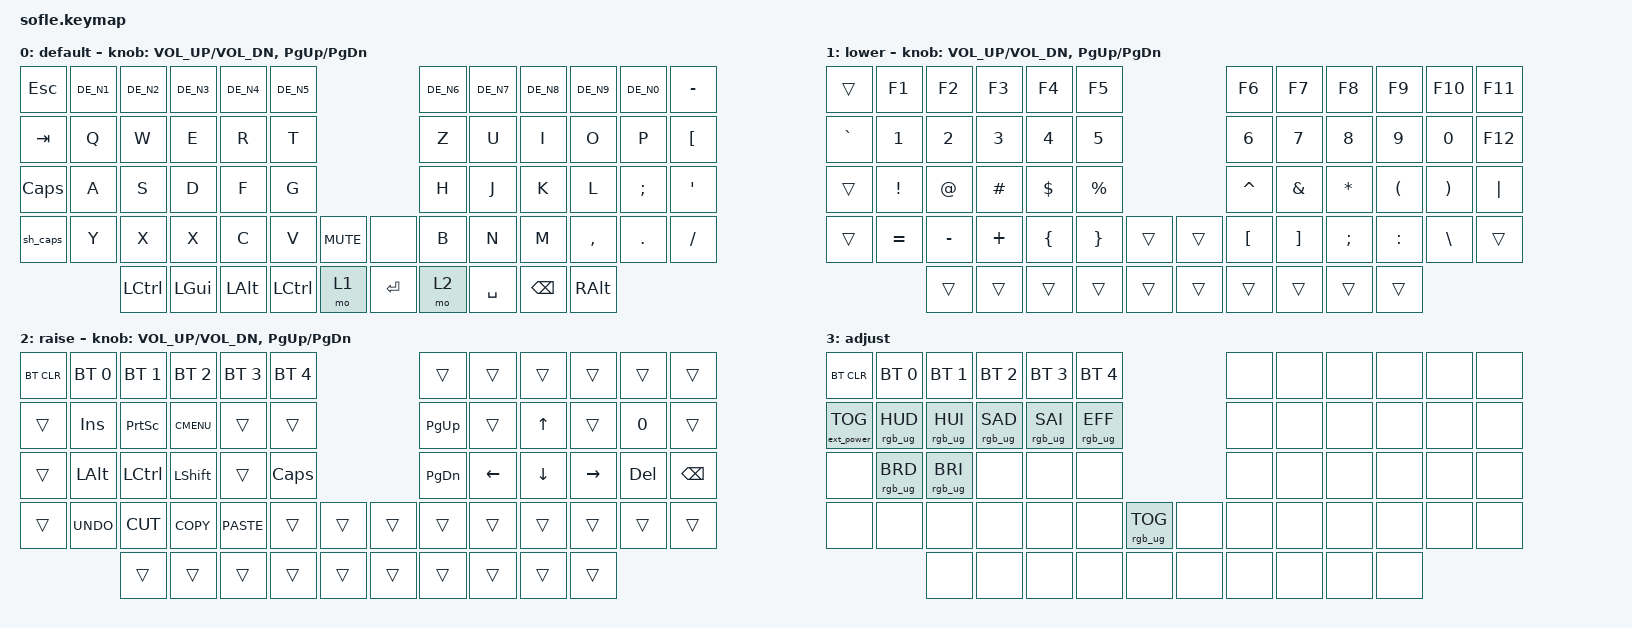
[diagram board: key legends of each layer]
/*
 * Copyright (c) 2020 The ZMK Contributors
 *
 * SPDX-License-Identifier: MIT
 */

#include <behaviors.dtsi>
#include <dt-bindings/zmk/bt.h>
#include <dt-bindings/zmk/ext_power.h>
#include <dt-bindings/zmk/keys.h>
#include <dt-bindings/zmk/rgb.h>
#include "keys_de.h"

#define BASE 0
#define LOWER 1
#define RAISE 2
#define ADJUST 3

/ {
    // Activate ADJUST layer by pressing raise and lower

    conditional_layers {
        compatible = "zmk,conditional-layers";

        adjust_layer {
            if-layers = <LOWER RAISE>;
            then-layer = <ADJUST>;
        };
    };

    behaviors {
        sh_tap_or_hold: shift_tap_or_hold {
            compatible = "zmk,behavior-hold-tap";
            #binding-cells = <2>;
            flavor = "balanced";
            tapping-term-ms = <200>;
            bindings = <&kp>, <&sk>;
        };

        sh_caps: shift_caps_dance {
            compatible = "zmk,behavior-tap-dance";
            #binding-cells = <0>;
            tapping-term-ms = <200>;
            bindings = <&sh_tap_or_hold LSHIFT LSHIFT>, <&kp CAPSLOCK>;
        };
    };

    keymap {
        compatible = "zmk,keymap";

        default_layer {
            display-name = "default";

            // ------------------------------------------------------------------------------------------------------------
            // |   `   |  1  |  2  |  3   |  4   |  5   |                   |  6   |  7    |  8    |  9   |   0   |       |
            // |  ESC  |  Q  |  W  |  E   |  R   |  T   |                   |  Y   |  U    |  I    |  O   |   P   | BKSPC |
            // |  TAB  |  A  |  S  |  D   |  F   |  G   |                   |  H   |  J    |  K    |  L   |   ;   |   '   |
            // | SHIFT |  Z  |  X  |  C   |  V   |  B   |  MUTE  |  |       |  N   |  M    |  ,    |  .   |   /   | SHIFT |
            //               | GUI | ALT  | CTRL | LOWER|  ENTER |  | SPACE | RAISE| CTRL  | ALT   | GUI  |

            bindings = <
&kp ESCAPE    &kp DE_N1  &kp DE_N2         &kp DE_N3  &kp DE_N4  &kp DE_N5                       &kp DE_N6  &kp DE_N7  &kp DE_N8  &kp DE_N9  &kp DE_N0  &kp MINUS
&kp TAB       &kp Q      &kp W             &kp E      &kp R      &kp T                           &kp Z      &kp U      &kp I      &kp O      &kp P      &kp LBKT
&kp CAPSLOCK  &kp A      &kp S             &kp D      &kp F      &kp G                           &kp H      &kp J      &kp K      &kp L      &kp SEMI   &kp SQT
&sh_caps    &kp Y      &kp X             &kp X      &kp C      &kp V      &kp C_MUTE  &none    &kp B      &kp N      &kp M      &kp COMMA  &kp DOT    &kp FSLH
                         &kp LEFT_CONTROL  &kp LGUI   &kp LALT   &kp LCTRL  &mo 1       &kp RET  &mo 2      &kp SPACE  &kp BSPC   &kp RALT
            >;

            sensor-bindings = <&inc_dec_kp C_VOL_UP C_VOL_DN &inc_dec_kp PG_UP PG_DN>;
        };

        lower_layer {
            display-name = "lower";

            // TODO: Some binds are waiting for shifted keycode support.
            // ------------------------------------------------------------------------------------------------------------
            // |       |  F1 |  F2 |  F3  |  F4  |  F5  |                   |  F6  |  F7   |  F8   |  F9  |  F10  |  F11  |
            // |   `   |  1  |  2  |  3   |  4   |  5   |                   |  6   |  7    |  8    |  9   |   0   |  F12  |
            // |       |  !  |  @  |  #   |  $   |  %   |                   |  ^   |  &    |  *    |  (   |   )   |   |   |
            // |       |  =  |  -  |  +   |  {   |  }   |        |  |       |  [   |  ]    |  ;    |  :   |   \   |       |
            //               |     |      |      |      |        |  |       |      |       |       |      |

            bindings = <
&trans     &kp F1     &kp F2     &kp F3    &kp F4    &kp F5                       &kp F6     &kp F7    &kp F8     &kp F9     &kp F10   &kp F11
&kp GRAVE  &kp N1     &kp N2     &kp N3    &kp N4    &kp N5                       &kp N6     &kp N7    &kp N8     &kp N9     &kp N0    &kp F12
&trans     &kp EXCL   &kp AT     &kp HASH  &kp DLLR  &kp PRCNT                    &kp CARET  &kp AMPS  &kp ASTRK  &kp LPAR   &kp RPAR  &kp PIPE
&trans     &kp EQUAL  &kp MINUS  &kp PLUS  &kp LBRC  &kp RBRC   &trans    &trans  &kp LBKT   &kp RBKT  &kp SEMI   &kp COLON  &kp BSLH  &trans
                      &trans     &trans    &trans    &trans     &trans    &trans  &trans     &trans    &trans     &trans
            >;

            sensor-bindings = <&inc_dec_kp C_VOL_UP C_VOL_DN &inc_dec_kp PG_UP PG_DN>;
        };

        raise_layer {
            display-name = "raise";

            // ------------------------------------------------------------------------------------------------------------
            // | BTCLR | BT1  | BT2  |  BT3  |  BT4  |  BT5 |                |      |      |       |      |       |       |
            // |       | INS  | PSCR | GUI   |       |      |                | PGUP |      |   ^   |      |       |       |
            // |       | ALT  | CTRL | SHIFT |       | CAPS |                | PGDN |   <- |   v   |  ->  |  DEL  | BKSPC |
            // |       | UNDO | CUT  | COPY  | PASTE |      |      |  |      |      |      |       |      |       |       |
            //                |      |       |       |      |      |  |      |      |      |       |      |

            bindings = <
&bt BT_CLR  &bt BT_SEL 0  &bt BT_SEL 1  &bt BT_SEL 2  &bt BT_SEL 3  &bt BT_SEL 4                    &trans     &trans    &trans    &trans     &trans   &trans
&trans      &kp INS       &kp PSCRN     &kp K_CMENU   &trans        &trans                          &kp PG_UP  &trans    &kp UP    &trans     &kp N0   &trans
&trans      &kp LALT      &kp LCTRL     &kp LSHFT     &trans        &kp CLCK                        &kp PG_DN  &kp LEFT  &kp DOWN  &kp RIGHT  &kp DEL  &kp BSPC
&trans      &kp K_UNDO    &kp K_CUT     &kp K_COPY    &kp K_PASTE   &trans        &trans    &trans  &trans     &trans    &trans    &trans     &trans   &trans
                          &trans        &trans        &trans        &trans        &trans    &trans  &trans     &trans    &trans    &trans
            >;

            sensor-bindings = <&inc_dec_kp C_VOL_UP C_VOL_DN &inc_dec_kp PG_UP PG_DN>;
        };

        adjust_layer {
            // ----------------------------------------------------------------------------------------------------------------------------
            // | BTCLR  |  BT1    |  BT2    |   BT3   |   BT4   |   BT5   |                  |      |      |       |      |       |       |
            // | EXTPWR | RGB_HUD | RGB_HUI | RGB_SAD | RGB_SAI | RGB_EFF |                  |      |      |       |      |       |       |
            // |        | RGB_BRD | RGB_BRI |         |         |         |                  |      |      |       |      |       |       |
            // |        |         |         |         |         |         | RGB_TOG | |      |      |      |       |      |       |       |
            //                    |         |         |         |         |         | |      |      |      |       |      |

            display-name = "adjust";
            bindings = <
&bt BT_CLR         &bt BT_SEL 0     &bt BT_SEL 1     &bt BT_SEL 2     &bt BT_SEL 3     &bt BT_SEL 4                               &none  &none  &none  &none  &none  &none
&ext_power EP_TOG  &rgb_ug RGB_HUD  &rgb_ug RGB_HUI  &rgb_ug RGB_SAD  &rgb_ug RGB_SAI  &rgb_ug RGB_EFF                            &none  &none  &none  &none  &none  &none
&none              &rgb_ug RGB_BRD  &rgb_ug RGB_BRI  &none            &none            &none                                      &none  &none  &none  &none  &none  &none
&none              &none            &none            &none            &none            &none            &rgb_ug RGB_TOG    &none  &none  &none  &none  &none  &none  &none
                                    &none            &none            &none            &none            &none              &none  &none  &none  &none  &none
            >;
        };
    };
};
